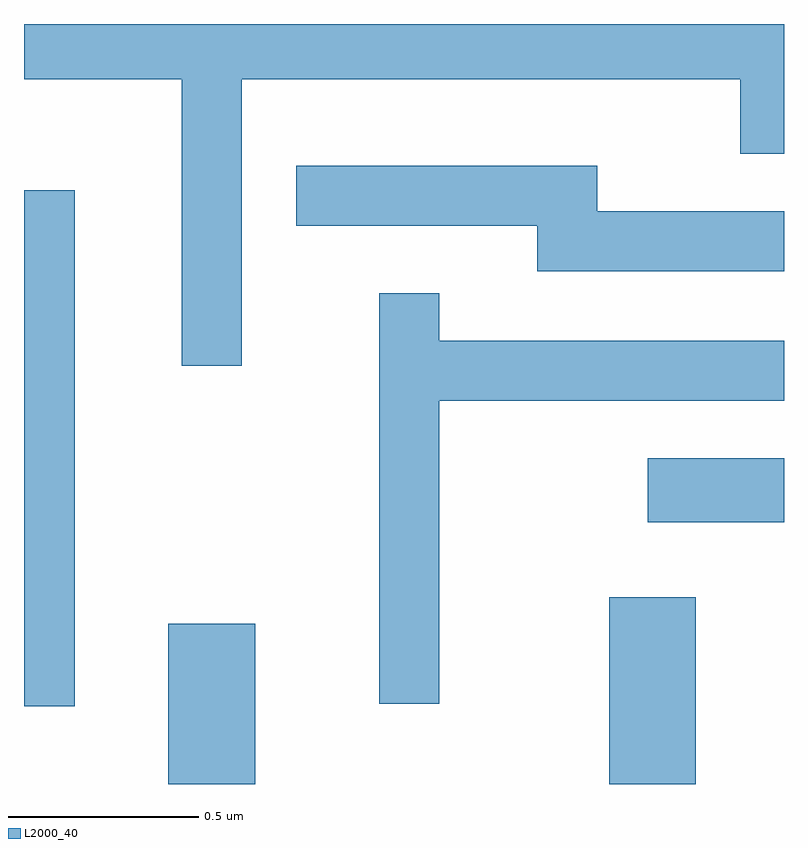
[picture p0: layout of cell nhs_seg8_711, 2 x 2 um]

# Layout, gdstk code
import gdstk
lib = gdstk.Library(unit=1e-6, precision=1e-09)
def R(c, l, rs):  # rectangles x0, y0, x1, y1
    for r in rs: c.add(gdstk.rectangle(r[:2], r[2:], *l))
def P(c, l, *ps):  # polygons
    for p in ps: c.add(gdstk.Polygon(p, *l))
L2000_40 = (2000, 40)

nhs_seg8_711 = lib.new_cell('nhs_seg8_711')
R(nhs_seg8_711, L2000_40, [(190.991,1832.342,191.219,1832.764), (192.151,1832.342,192.379,1832.834), (190.611,1832.546,190.744,1833.904), (192.253,1833.031,192.611,1833.199)])
P(nhs_seg8_711, L2000_40, [(191.184,1834.196),(192.496,1834.196),(192.496,1834.001),(192.611,1834.001),(192.611,1834.342),(190.611,1834.342),(190.611,1834.196),(191.026,1834.196),(191.026,1833.443),(191.184,1833.443)],
  [(192.611,1833.849),(192.119,1833.849),(192.119,1833.969),(191.328,1833.969),(191.328,1833.811),(191.961,1833.811),(191.961,1833.691),(192.611,1833.691)],
  [(191.704,1833.351),(192.611,1833.351),(192.611,1833.509),(191.704,1833.509),(191.704,1833.633),(191.546,1833.633),(191.546,1832.553),(191.704,1832.553)])

lib.write_gds('nhs_seg8_711.gds')
